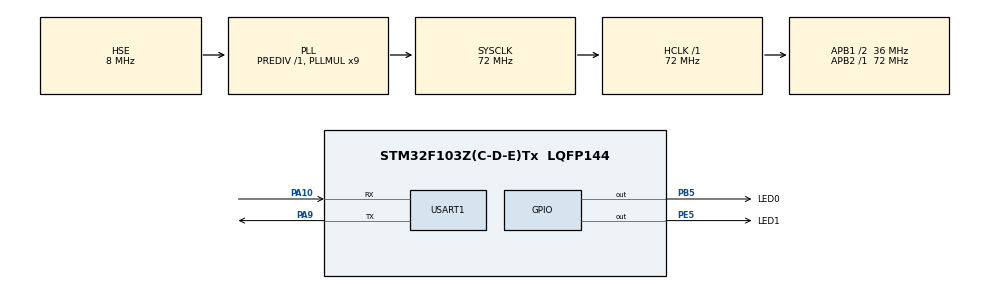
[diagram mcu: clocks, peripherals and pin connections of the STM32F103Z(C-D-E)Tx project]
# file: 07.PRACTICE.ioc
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Mcu.Family=STM32F1
RCC.PLLSourceVirtual=RCC_PLLSOURCE_HSE
PA10.Mode=Asynchronous
RCC.APB1CLKDivider=RCC_HCLK_DIV2
RCC.SYSCLKSource=RCC_SYSCLKSOURCE_PLLCLK
ProjectManager.StackSize=0x400
PA13.Signal=SYS_JTMS-SWDIO
PA9.Mode=Asynchronous
PE5.GPIO_PuPd=GPIO_PULLUP
ProjectManager.TargetToolchain=STM32CubeIDE
RCC.HCLKFreq_Value=72000000
RCC.APB2TimFreq_Value=72000000
PA9.Signal=USART1_TX
PB5.PinState=GPIO_PIN_SET
OSC_IN.Signal=RCC_OSC_IN
PE5.Signal=GPIO_Output
RCC.USBFreq_Value=72000000
OSC_OUT.Mode=HSE-External-Oscillator
OSC_OUT.Signal=RCC_OSC_OUT
RCC.AHBFreq_Value=72000000
board=custom
RCC.PLLMUL=RCC_PLL_MUL9
RCC.APB2Freq_Value=72000000
VP_TIM2_VS_ClockSourceINT.Mode=Internal
PA14.Mode=Serial_Wire
NVIC.TIM2_IRQn=true\:0\:0\:false\:false\:true\:true\:true
PE5.PinState=GPIO_PIN_SET
TIM2.Period=2499
PA13.Mode=Serial_Wire
Mcu.Name=STM32F103Z(C-D-E)Tx
RCC.SYSCLKFreq_VALUE=72000000
Mcu.Package=LQFP144
PB5.Signal=GPIO_Output
TIM2.Prescaler=7199
OSC_IN.Mode=HSE-External-Oscillator
PB5.GPIO_PuPd=GPIO_PULLUP
PE5.GPIO_Label=LED1
USART1.VirtualMode=VM_ASYNC
PA10.Signal=USART1_RX
PA14.Signal=SYS_JTCK-SWCLK
ProjectManager.HeapSize=0x200
PB5.GPIO_Speed=GPIO_SPEED_FREQ_HIGH
NVIC.PriorityGroup=NVIC_PRIORITYGROUP_4
PB5.GPIO_Label=LED0
PE5.GPIO_Speed=GPIO_SPEED_FREQ_HIGH
RCC.APB1TimFreq_Value=72000000
NVIC.USART1_IRQn=true\:0\:0\:false\:false\:true\:true\:true
RCC.APB1Freq_Value=36000000

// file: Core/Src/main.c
/* USER CODE BEGIN Header */
/**
 ******************************************************************************
 * @file           : main.c
 * @brief          : Main program body
 ******************************************************************************
 * @attention
 *
 * <h2><center>&copy; Copyright (c) 2021 STMicroelectronics.
 * All rights reserved.</center></h2>
 *
 * This software component is licensed by ST under BSD 3-Clause license,
 * the "License"; You may not use this file except in compliance with the
 * License. You may obtain a copy of the License at:
 *                        opensource.org/licenses/BSD-3-Clause
 *
 ******************************************************************************
 */
/* USER CODE END Header */
#include "main.h"
#include "tim.h"
#include "usart.h"
#include "gpio.h"
#include "stdio.h"

void SystemClock_Config(void);

/* USER CODE BEGIN 0 */
#define LED0_On() HAL_GPIO_WritePin(LED0_GPIO_Port, LED0_Pin, GPIO_PIN_RESET);
#define LED0_Off() HAL_GPIO_WritePin(LED0_GPIO_Port, LED0_Pin, GPIO_PIN_SET);
#define LED1_On() HAL_GPIO_WritePin(LED1_GPIO_Port, LED1_Pin, GPIO_PIN_RESET);
#define LED1_Off() HAL_GPIO_WritePin(LED1_GPIO_Port, LED1_Pin, GPIO_PIN_SET);
#define LED0_Tog() HAL_GPIO_TogglePin(LED0_GPIO_Port, LED0_Pin);
#define LED1_Tog() HAL_GPIO_TogglePin(LED1_GPIO_Port, LED1_Pin);
#define BUFFERSIZE 64

uint8_t str1[] = "==========stm32==========";
uint8_t RxBuf[BUFFERSIZE];
uint8_t TxBuf[BUFFERSIZE];
uint8_t hour, minute, second, ss05; //ss05表示0.5s

//LED灯开机检测函数
void checkLED() {
	LED0_On();
	HAL_Delay(500);
	LED1_On();
	HAL_Delay(500);

	LED0_Off();
	HAL_Delay(500);
	LED1_Off();
	HAL_Delay(500);
}

//时钟回调函数,实现秒闪灯
void HAL_TIM_PeriodElapsedCallback(TIM_HandleTypeDef *htim) {
	LED0_Tog();
	ss05++;
	if (ss05 == 2) {
		ss05 = 0;
		second++;
		if (second == 60) {
			second = 0;
			minute++;
			if (minute == 60) {
				minute = 0;
				hour++;
			}
		}
	}
}

//串口接收回调函数
void HAL_UART_RxCpltCallback(UART_HandleTypeDef *huart) {
	if (huart->Instance == USART1) {
		if (RxBuf[0] == 0xbf && RxBuf[2] == 0xfb) {
			switch (RxBuf[1]) {
			case 0xa1:
				LED1_On();
				sprintf((char*) TxBuf, "%d:%d:%d  打开LED1", hour, minute, second);
				break;
			case 0xa2:
				LED1_Off();
				sprintf((char*) TxBuf, "%d:%d:%d  关闭LED1", hour, minute, second);
				break;
			default:
				sprintf((char*) TxBuf, "%d:%d:%d  这是一个错误的指令", hour, minute, second);
				break;
			}
			HAL_UART_Transmit(huart, TxBuf, sizeof(TxBuf), 1000);
		}
	}
	HAL_UART_Receive_IT(huart, RxBuf, 3);
}
/* USER CODE END 0 */

int main(void) {

	/* MCU Configuration--------------------------------------------------------*/

	/* Reset of all peripherals, Initializes the Flash interface and the Systick. */
	HAL_Init();

	/* Configure the system clock */
	SystemClock_Config();

	/* Initialize all configured peripherals */
	MX_GPIO_Init();
	MX_TIM2_Init();
	MX_USART1_UART_Init();
	/* USER CODE BEGIN 2 */
	checkLED();
	HAL_UART_Transmit(&huart1, str1, sizeof(str1), 1000);
	HAL_TIM_Base_Start_IT(&htim2);
	HAL_UART_Receive_IT(&huart1, RxBuf, 3);
	/* USER CODE END 2 */

	/* Infinite loop */
	while (1) {

	}
}

void SystemClock_Config(void) {
	RCC_OscInitTypeDef RCC_OscInitStruct = { 0 };
	RCC_ClkInitTypeDef RCC_ClkInitStruct = { 0 };

	/** Initializes the RCC Oscillators according to the specified parameters
	 * in the RCC_OscInitTypeDef structure.
	 */
	RCC_OscInitStruct.OscillatorType = RCC_OSCILLATORTYPE_HSE;
	RCC_OscInitStruct.HSEState = RCC_HSE_ON;
	RCC_OscInitStruct.HSEPredivValue = RCC_HSE_PREDIV_DIV1;
	RCC_OscInitStruct.HSIState = RCC_HSI_ON;
	RCC_OscInitStruct.PLL.PLLState = RCC_PLL_ON;
	RCC_OscInitStruct.PLL.PLLSource = RCC_PLLSOURCE_HSE;
	RCC_OscInitStruct.PLL.PLLMUL = RCC_PLL_MUL9;
	if (HAL_RCC_OscConfig(&RCC_OscInitStruct) != HAL_OK) {
		Error_Handler();
	}
	/** Initializes the CPU, AHB and APB buses clocks
	 */
	RCC_ClkInitStruct.ClockType = RCC_CLOCKTYPE_HCLK | RCC_CLOCKTYPE_SYSCLK
			| RCC_CLOCKTYPE_PCLK1 | RCC_CLOCKTYPE_PCLK2;
	RCC_ClkInitStruct.SYSCLKSource = RCC_SYSCLKSOURCE_PLLCLK;
	RCC_ClkInitStruct.AHBCLKDivider = RCC_SYSCLK_DIV1;
	RCC_ClkInitStruct.APB1CLKDivider = RCC_HCLK_DIV2;
	RCC_ClkInitStruct.APB2CLKDivider = RCC_HCLK_DIV1;

	if (HAL_RCC_ClockConfig(&RCC_ClkInitStruct, FLASH_LATENCY_2) != HAL_OK) {
		Error_Handler();
	}
}

void Error_Handler(void) {
	__disable_irq();
	while (1) {
	}
}

/************************ (C) COPYRIGHT STMicroelectronics *****END OF FILE****/
